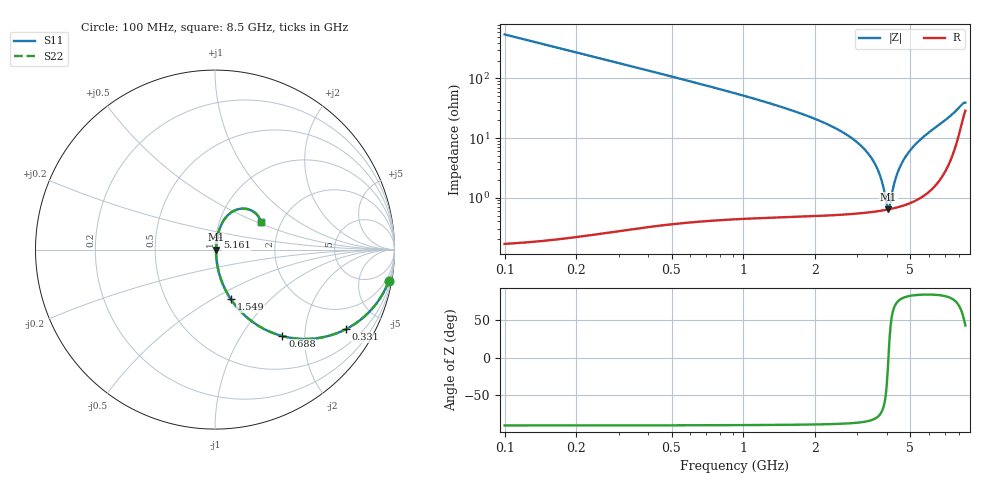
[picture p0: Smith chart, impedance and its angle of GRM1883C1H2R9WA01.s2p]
!Murata Part Number: GRM1883C1H2R9WA01
!These Parameters are Measured in Series Mode Connection
!Data Generated on Mar 30, 2021
!  o--ll--o
!Port1  Port2
!  o------o
!Operation Temp=25[degC], DC Bias Voltage=0[V]
!Freq. Start=100[MHz] Stop=9[GHz] 401[Steps]
# Hz S RI R 50
!Freq.(Hz) S11(Real) S11(Imag) S21(Real) S21(Imag) S12(Real) S12(Imag) S22(Real) S22(Imag)
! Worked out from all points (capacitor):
!   401 points, 100 MHz to 8.5 GHz, reference 50 ohm
!   read as one part in series: C = 2.9 pF near 142 MHz
!   lowest |Z| = 634 mohm at 4.048 GHz (marker M1)
!   series resonance near 4.047 GHz, so ESL is about 530 pH
!   S11 on the Smith chart (normalised r, x): 100 MHz: 1, -11; 331 MHz: 1.01, -3.29; 688 MHz: 1.01, -1.55; 1.549 GHz: 1.01, -0.61; 5.161 GHz: 1.02, +0.14; 8.5 GHz: 1.58, +0.54
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1e8  0.9678 -0.1765  0.0322 0.1765  0.0322 0.1765  0.9678 -0.1765
2.26e8  0.8539 -0.3528  0.1461 0.3528  0.1461 0.3528  0.8539 -0.3528
3.31e8  0.73 -0.4431  0.27 0.4431  0.27 0.4431  0.73 -0.4431
4.78e8  0.5611 -0.4947  0.4389 0.4947  0.4389 0.4947  0.5611 -0.4947
6.88e8  0.3753 -0.4816  0.6247 0.4816  0.6247 0.4816  0.3753 -0.4816
1.045e9  0.196 -0.3925  0.804 0.3925  0.804 0.3925  0.196 -0.3925
1.507e9  0.0936 -0.2838  0.9064 0.2838  0.9064 0.2838  0.0936 -0.2838
1.549e9  0.0879 -0.2754  0.9121 0.2754  0.9121 0.2754  0.0879 -0.2754
2.914e9  0.0136 -0.0906  0.9864 0.0906  0.9864 0.0906  0.0136 -0.0906
3.313e9  0.00866 -0.0552  0.9913 0.0552  0.9913 0.0552  0.00866 -0.0552
3.607e9  0.00685 -0.0319  0.9931 0.0319  0.9931 0.0319  0.00685 -0.0319
3.796e9  0.00633 -0.0178  0.9937 0.0178  0.9937 0.0178  0.00633 -0.0178
3.985e9  0.00624 -0.00429  0.9938 0.00429  0.9938 0.00429  0.00624 -0.00429
4.048e9  0.0063 8.58e-05  0.9937 -8.58e-05  0.9937 -8.58e-05  0.0063 8.58e-05
4.09e9  0.00636 0.00297  0.9936 -0.00297  0.9936 -0.00297  0.00636 0.00297
4.3e9  0.00694 0.0171  0.9931 -0.0171  0.9931 -0.0171  0.00694 0.0171
4.636e9  0.00873 0.0387  0.9913 -0.0387  0.9913 -0.0387  0.00873 0.0387
5.161e9  0.0136 0.0707  0.9864 -0.0707  0.9864 -0.0707  0.0136 0.0707
5.707e9  0.0215 0.103  0.9785 -0.103  0.9785 -0.103  0.0215 0.103
7.114e9  0.0683 0.1885  0.9317 -0.1885  0.9317 -0.1885  0.0683 0.1885
8.017e9  0.1702 0.2276  0.8298 -0.2276  0.8298 -0.2276  0.1702 0.2276
8.5e9  0.2561 0.1555  0.7439 -0.1555  0.7439 -0.1555  0.2561 0.1555
